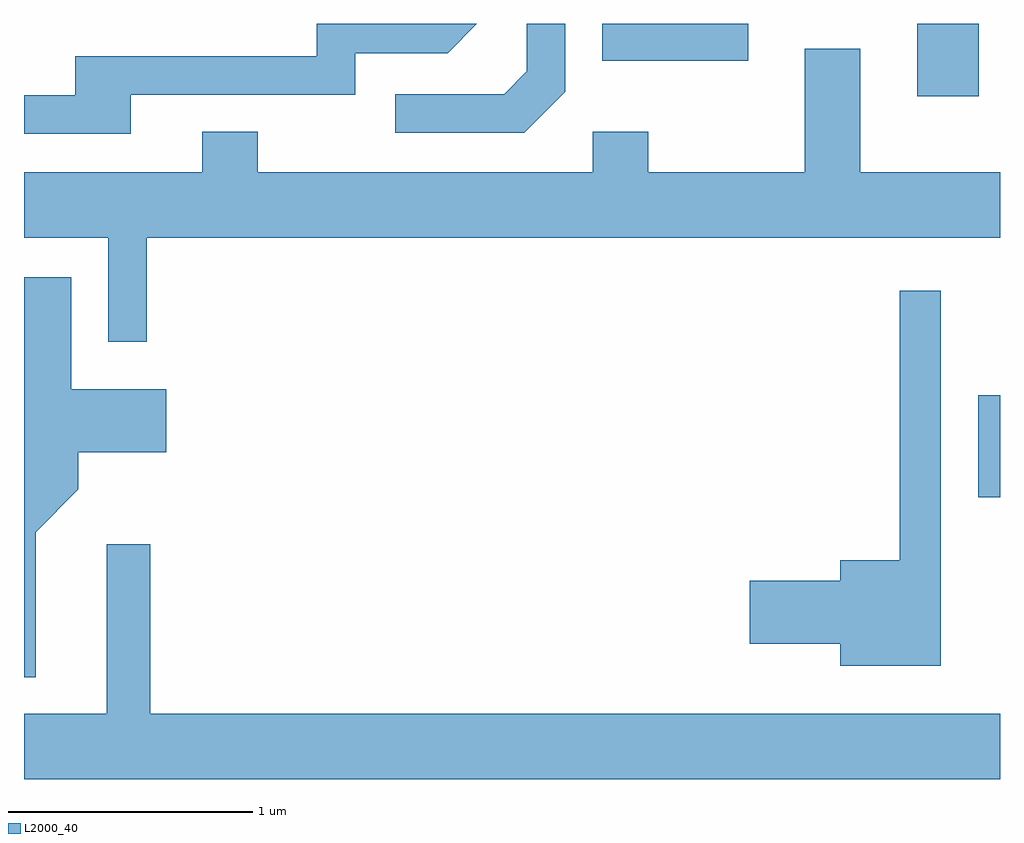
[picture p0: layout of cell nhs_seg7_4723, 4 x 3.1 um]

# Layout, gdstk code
import gdstk
lib = gdstk.Library(unit=1e-6, precision=1e-09)
def R(c, l, rs):  # rectangles x0, y0, x1, y1
    for r in rs: c.add(gdstk.rectangle(r[:2], r[2:], *l))
def P(c, l, *ps):  # polygons
    for p in ps: c.add(gdstk.Polygon(p, *l))
L2000_40 = (2000, 40)

nhs_seg7_4723 = lib.new_cell('nhs_seg7_4723')
R(nhs_seg7_4723, L2000_40, [(333.521,1764.311,333.611,1764.729), (333.271,1765.956,333.524,1766.252), (331.981,1766.101,332.579,1766.252)])
P(nhs_seg7_4723, L2000_40, [(331.829,1765.974),(331.829,1766.252),(331.671,1766.252),(331.671,1766.057),(331.579,1765.964),(331.133,1765.964),(331.133,1765.806),(331.662,1765.806)],
  [(330.049,1765.961),(330.969,1765.961),(330.969,1766.131),(331.347,1766.131),(331.467,1766.252),(330.811,1766.252),(330.811,1766.119),(329.821,1766.119),(329.821,1765.959),(329.611,1765.959),(329.611,1765.801),(330.049,1765.801)],
  [(330.114,1765.376),(333.611,1765.376),(333.611,1765.644),(333.039,1765.644),(333.039,1766.149),(332.811,1766.149),(332.811,1765.644),(332.169,1765.644),(332.169,1765.809),(331.941,1765.809),(331.941,1765.644),(330.569,1765.644),(330.569,1765.809),(330.341,1765.809),(330.341,1765.644),(329.611,1765.644),(329.611,1765.376),(329.956,1765.376),(329.956,1764.948),(330.114,1764.948)],
  [(329.659,1764.169),(329.834,1764.344),(329.834,1764.496),(330.194,1764.496),(330.194,1764.754),(329.804,1764.754),(329.804,1765.214),(329.611,1765.214),(329.611,1763.573),(329.659,1763.573)],
  [(333.369,1765.158),(333.201,1765.158),(333.201,1764.054),(332.956,1764.054),(332.956,1763.969),(332.586,1763.969),(332.586,1763.711),(332.956,1763.711),(332.956,1763.621),(333.369,1763.621)],
  [(333.611,1763.424),(330.129,1763.424),(330.129,1764.119),(329.951,1764.119),(329.951,1763.424),(329.611,1763.424),(329.611,1763.156),(333.611,1763.156)])

lib.write_gds('nhs_seg7_4723.gds')
